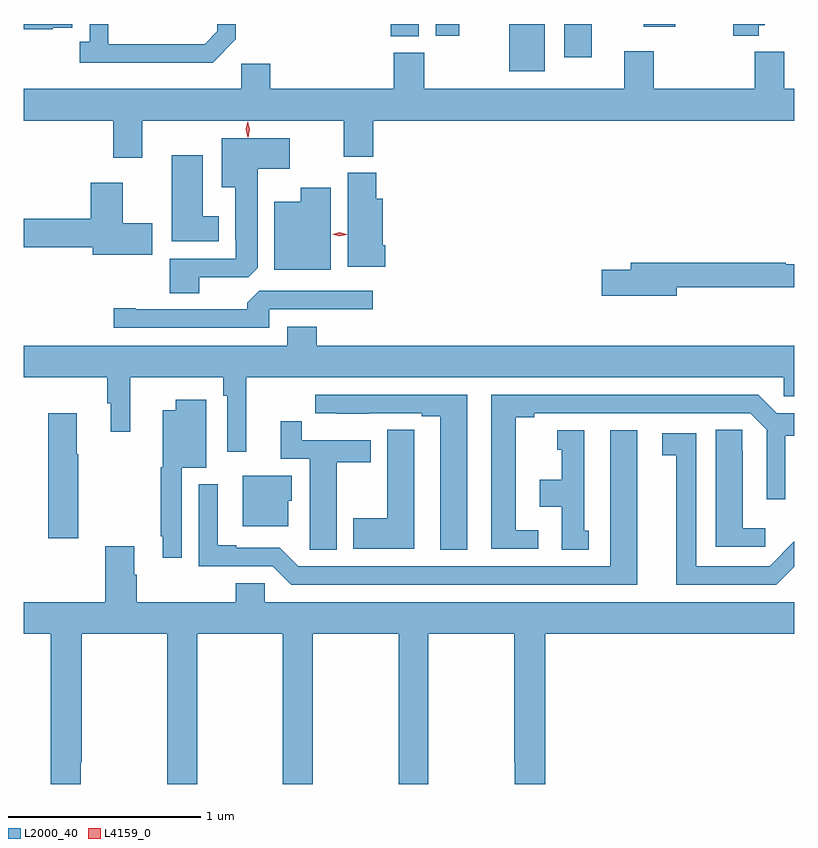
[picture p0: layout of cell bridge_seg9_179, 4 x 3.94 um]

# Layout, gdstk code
import gdstk
lib = gdstk.Library(unit=1e-6, precision=1e-09)
def R(c, l, rs):  # rectangles x0, y0, x1, y1
    for r in rs: c.add(gdstk.rectangle(r[:2], r[2:], *l))
def P(c, l, *ps):  # polygons
    for p in ps: c.add(gdstk.Polygon(p, *l))
L2000_40 = (2000, 40)
L4159_0 = (4159, 0)

bridge_seg9_179 = lib.new_cell('bridge_seg9_179')
R(bridge_seg9_179, L2000_40, [(151.313,1244.627,151.498,1244.873), (151.598,1244.7,151.741,1244.873), (150.698,1244.809,150.844,1244.873), (150.932,1244.811,151.054,1244.873), (152.012,1244.859,152.175,1244.873), (149.379,1244.871,149.694,1244.873)])
P(bridge_seg9_179, L2000_40, [(148.943,1244.853),(149.045,1244.853),(149.045,1244.873),(148.793,1244.873),(148.793,1244.859),(148.795,1244.859),(148.795,1244.847),(148.943,1244.847)],
  [(149.895,1244.793),(149.895,1244.873),(149.799,1244.873),(149.799,1244.835),(149.733,1244.769),(149.233,1244.769),(149.233,1244.873),(149.136,1244.873),(149.136,1244.782),(149.085,1244.782),(149.085,1244.672),(149.774,1244.672)],
  [(152.608,1244.867),(152.638,1244.867),(152.638,1244.873),(152.476,1244.873),(152.476,1244.813),(152.608,1244.813)],
  [(149.41,1244.372),(150.455,1244.372),(150.455,1244.185),(150.608,1244.185),(150.608,1244.372),(152.793,1244.372),(152.793,1244.536),(152.74,1244.536),(152.74,1244.728),(152.588,1244.728),(152.588,1244.536),(152.063,1244.536),(152.063,1244.731),(151.91,1244.731),(151.91,1244.536),(150.873,1244.536),(150.873,1244.724),(150.713,1244.724),(150.713,1244.536),(150.074,1244.536),(150.074,1244.668),(149.922,1244.668),(149.922,1244.536),(148.793,1244.536),(148.793,1244.372),(149.258,1244.372),(149.258,1244.178),(149.41,1244.178)],
  [(149.704,1243.56),(149.958,1243.56),(150.007,1243.609),(150.007,1244.123),(150.175,1244.123),(150.175,1244.281),(149.822,1244.281),(149.822,1244.027),(149.891,1244.027),(149.891,1243.753),(149.895,1243.753),(149.895,1243.656),(149.552,1243.656),(149.552,1243.477),(149.704,1243.477)],
  [(149.806,1243.876),(149.722,1243.876),(149.722,1244.191),(149.561,1244.191),(149.561,1243.745),(149.806,1243.745)],
  [(150.671,1243.726),(150.658,1243.726),(150.658,1243.966),(150.623,1243.966),(150.623,1244.1),(150.476,1244.1),(150.476,1243.614),(150.671,1243.614)],
  [(149.461,1243.839),(149.308,1243.839),(149.308,1244.05),(149.141,1244.05),(149.141,1243.862),(148.793,1243.862),(148.793,1243.715),(149.153,1243.715),(149.153,1243.676),(149.461,1243.676)],
  [(150.388,1244.023),(150.23,1244.023),(150.23,1243.951),(150.095,1243.951),(150.095,1243.598),(150.388,1243.598)],
  [(152.182,1243.506),(152.793,1243.506),(152.793,1243.627),(152.747,1243.627),(152.747,1243.634),(151.943,1243.634),(151.943,1243.598),(151.794,1243.598),(151.794,1243.463),(152.182,1243.463)],
  [(150.069,1243.392),(150.604,1243.392),(150.604,1243.488),(150.015,1243.488),(149.954,1243.426),(149.954,1243.392),(149.374,1243.392),(149.374,1243.397),(149.262,1243.397),(149.262,1243.296),(150.069,1243.296)],
  [(149.948,1243.04),(152.739,1243.04),(152.739,1242.942),(152.793,1242.942),(152.793,1243.204),(150.314,1243.204),(150.314,1243.303),(150.161,1243.303),(150.161,1243.204),(148.793,1243.204),(148.793,1243.04),(149.227,1243.04),(149.227,1242.906),(149.246,1242.906),(149.246,1242.756),(149.346,1242.756),(149.346,1243.04),(149.83,1243.04),(149.83,1242.944),(149.85,1242.944),(149.85,1242.654),(149.948,1242.654)],
  [(151.465,1242.246),(151.348,1242.246),(151.348,1242.832),(151.444,1242.832),(151.444,1242.852),(152.565,1242.852),(152.649,1242.768),(152.649,1242.408),(152.746,1242.408),(152.746,1242.736),(152.793,1242.736),(152.793,1242.852),(152.701,1242.852),(152.605,1242.948),(151.22,1242.948),(151.22,1242.15),(151.465,1242.15)],
  [(151.096,1242.948),(150.306,1242.948),(150.306,1242.852),(150.418,1242.852),(150.418,1242.851),(150.584,1242.851),(150.584,1242.852),(150.86,1242.852),(150.86,1242.837),(150.956,1242.837),(150.956,1242.145),(151.096,1242.145)],
  [(149.613,1242.569),(149.74,1242.569),(149.74,1242.922),(149.582,1242.922),(149.582,1242.868),(149.516,1242.868),(149.516,1242.573),(149.505,1242.573),(149.505,1242.214),(149.516,1242.214),(149.516,1242.102),(149.613,1242.102)],
  [(149.076,1242.64),(149.068,1242.64),(149.068,1242.853),(148.922,1242.853),(148.922,1242.204),(149.076,1242.204)],
  [(150.418,1242.598),(150.595,1242.598),(150.595,1242.714),(150.236,1242.714),(150.236,1242.811),(150.128,1242.811),(150.128,1242.618),(150.278,1242.618),(150.278,1242.256),(150.279,1242.256),(150.279,1242.145),(150.418,1242.145)],
  [(150.82,1242.659),(150.819,1242.659),(150.819,1242.767),(150.68,1242.767),(150.68,1242.309),(150.503,1242.309),(150.503,1242.149),(150.82,1242.149)],
  [(152.641,1242.256),(152.524,1242.256),(152.524,1242.659),(152.523,1242.659),(152.523,1242.767),(152.384,1242.767),(152.384,1242.159),(152.641,1242.159)],
  [(151.978,1242.766),(151.838,1242.766),(151.838,1242.06),(150.219,1242.06),(150.123,1242.156),(149.896,1242.156),(149.896,1242.169),(149.8,1242.169),(149.8,1242.484),(149.703,1242.484),(149.703,1242.06),(150.087,1242.06),(150.183,1241.964),(151.978,1241.964)],
  [(151.726,1242.243),(151.702,1242.243),(151.702,1242.766),(151.562,1242.766),(151.562,1242.663),(151.586,1242.663),(151.586,1242.508),(151.472,1242.508),(151.472,1242.368),(151.586,1242.368),(151.586,1242.145),(151.726,1242.145)],
  [(152.793,1242.057),(152.793,1242.188),(152.792,1242.188),(152.664,1242.06),(152.284,1242.06),(152.284,1242.75),(152.106,1242.75),(152.106,1242.634),(152.18,1242.634),(152.18,1241.964),(152.7,1241.964)],
  [(150.166,1242.399),(150.184,1242.399),(150.184,1242.529),(149.93,1242.529),(149.93,1242.266),(150.166,1242.266)],
  [(149.089,1241.041),(149.094,1241.041),(149.094,1241.708),(149.539,1241.708),(149.539,1240.929),(149.694,1240.929),(149.694,1241.708),(150.139,1241.708),(150.139,1240.929),(150.294,1240.929),(150.294,1241.708),(150.739,1241.708),(150.739,1240.929),(150.894,1240.929),(150.894,1241.708),(151.339,1241.708),(151.339,1241.041),(151.343,1241.041),(151.343,1240.929),(151.499,1240.929),(151.499,1241.708),(152.793,1241.708),(152.793,1241.872),(150.045,1241.872),(150.045,1241.97),(149.894,1241.97),(149.894,1241.872),(149.381,1241.872),(149.381,1242.014),(149.368,1242.014),(149.368,1242.163),(149.216,1242.163),(149.216,1241.872),(148.793,1241.872),(148.793,1241.708),(148.934,1241.708),(148.934,1240.929),(149.089,1240.929)])
P(bridge_seg9_179, L4159_0, [(150.432,1243.771),(150.396,1243.781),(150.395,1243.782),(150.396,1243.782),(150.433,1243.791),(150.47,1243.781),(150.47,1243.78),(150.47,1243.78)],
  [(149.957,1244.286),(149.957,1244.286),(149.947,1244.327),(149.957,1244.367),(149.957,1244.367),(149.957,1244.367),(149.967,1244.327),(149.958,1244.286)])

lib.write_gds('bridge_seg9_179.gds')
